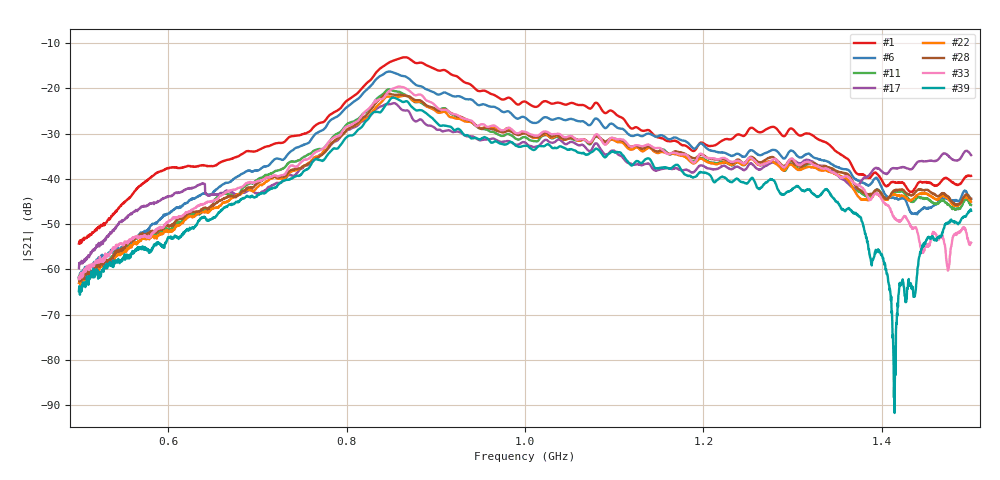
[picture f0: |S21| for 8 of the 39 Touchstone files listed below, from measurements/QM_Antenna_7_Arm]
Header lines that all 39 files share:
!Agilent Technologies,E8364B,US42250235,A.06.04.32
!Agilent E8364B: A.06.04.32
!Correction: S11(Full 2 Port(1,2)) S21(Full 2 Port(1,2)) S12(Full 2 Port(1,2)) S22(Full 2 Port(1,2))
!S2P File: Measurements: S11, S21, S12, S22:
# Hz S  dB  R 50
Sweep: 500 MHz to 1.5 GHz
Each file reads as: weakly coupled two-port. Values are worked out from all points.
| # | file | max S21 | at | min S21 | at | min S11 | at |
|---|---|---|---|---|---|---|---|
| 1 | 0_1.s2p | -13.13 dB | 865.4 MHz | -54.3 dB | 500 MHz | -31.7 dB | 1.068 GHz |
| 2 | 0_2.s2p | -13.17 dB | 850.3 MHz | -56.3 dB | 500 MHz | -32.0 dB | 1.183 GHz |
| 3 | 0_3.s2p | -14.91 dB | 849.9 MHz | -56.5 dB | 500.4 MHz | -27.4 dB | 727.3 MHz |
| 4 | 0_4.s2p | -15.32 dB | 845 MHz | -60.5 dB | 500 MHz | -30.1 dB | 1.134 GHz |
| 5 | 0_5.s2p | -15.92 dB | 860.1 MHz | -61.5 dB | 500.8 MHz | -67.9 dB | 1.116 GHz |
| 6 | 0_6.s2p | -16.27 dB | 848.1 MHz | -61.6 dB | 500 MHz | -30.7 dB | 1.003 GHz |
| 7 | 0_7.s2p | -18.30 dB | 859.4 MHz | -64.8 dB | 500.4 MHz | -45.1 dB | 876.7 MHz |
| 8 | 0_8.s2p | -18.37 dB | 858.2 MHz | -65.2 dB | 500.4 MHz | -37.2 dB | 886.2 MHz |
| 9 | 0_9.s2p | -19.71 dB | 866.6 MHz | -64.0 dB | 502.3 MHz | -58.8 dB | 908.1 MHz |
| 10 | 0_10.s2p | -19.94 dB | 847.3 MHz | -62.6 dB | 505.3 MHz | -36.9 dB | 1.099 GHz |
| 11 | 0_11.s2p | -20.23 dB | 847.3 MHz | -63.1 dB | 503.4 MHz | -38.6 dB | 886.2 MHz |
| 12 | 1_2.s2p | -25.03 dB | 849.2 MHz | -60.5 dB | 500 MHz | -43.9 dB | 905.8 MHz |
| 13 | 1_3.s2p | -22.25 dB | 853.3 MHz | -62.4 dB | 500.4 MHz | -42.4 dB | 940.9 MHz |
| 14 | 1_4.s2p | -20.96 dB | 851.1 MHz | -61.8 dB | 501.5 MHz | -37.2 dB | 879 MHz |
| 15 | 1_5.s2p | -20.63 dB | 854.1 MHz | -64.6 dB | 500 MHz | -46.7 dB | 912.6 MHz |
| 16 | 1_6.s2p | -22.76 dB | 867.7 MHz | -65.4 dB | 500.4 MHz | -41.7 dB | 939.8 MHz |
| 17 | 2_1.s2p | -23.26 dB | 853 MHz | -59.8 dB | 500 MHz | -40.2 dB | 906.9 MHz |
| 18 | 2_2.s2p | -16.59 dB | 862 MHz | -54.7 dB | 500 MHz | -27.8 dB | 1.135 GHz |
| 19 | 2_3.s2p | -17.29 dB | 865.4 MHz | -59.9 dB | 501.5 MHz | -29.5 dB | 1.001 GHz |
| 20 | 2_4.s2p | -19.19 dB | 853.7 MHz | -61.1 dB | 500.4 MHz | -37.7 dB | 954.1 MHz |
| 21 | 2_5.s2p | -20.38 dB | 866.6 MHz | -62.8 dB | 502.3 MHz | -33.3 dB | 874.9 MHz |
| 22 | 2_6.s2p | -21.61 dB | 865 MHz | -63.5 dB | 501.5 MHz | -49.4 dB | 934.9 MHz |
| 23 | 3_1.s2p | -13.63 dB | 853 MHz | -53.5 dB | 501.5 MHz | -32.7 dB | 695.2 MHz |
| 24 | 3_2.s2p | -14.98 dB | 855.2 MHz | -54.6 dB | 500.8 MHz | -32.5 dB | 1.135 GHz |
| 25 | 3_3.s2p | -16.09 dB | 865.4 MHz | -58.6 dB | 500.4 MHz | -30.5 dB | 1.035 GHz |
| 26 | 3_4.s2p | -18.28 dB | 864.3 MHz | -61.3 dB | 500.4 MHz | -41.5 dB | 1.133 GHz |
| 27 | 3_5.s2p | -18.90 dB | 858.2 MHz | -62.1 dB | 500 MHz | -50.0 dB | 1.138 GHz |
| 28 | 3_6.s2p | -21.11 dB | 846.2 MHz | -62.7 dB | 500.4 MHz | -35.1 dB | 885.8 MHz |
| 29 | 4_1.s2p | -15.66 dB | 851.5 MHz | -54.1 dB | 500.8 MHz | -31.1 dB | 857.5 MHz |
| 30 | 4_2.s2p | -18.35 dB | 857.5 MHz | -57.7 dB | 1.384 GHz | -52.8 dB | 1.152 GHz |
| 31 | 4_3.s2p | -17.51 dB | 858.2 MHz | -60.0 dB | 1.41 GHz | -35.1 dB | 1.15 GHz |
| 32 | 4_4.s2p | -19.15 dB | 855.6 MHz | -74.2 dB | 1.42 GHz | -49.1 dB | 1.163 GHz |
| 33 | 4_5.s2p | -19.59 dB | 858.6 MHz | -62.2 dB | 500 MHz | -41.0 dB | 1.101 GHz |
| 34 | 4_6.s2p | -21.90 dB | 865.4 MHz | -62.7 dB | 504.9 MHz | -35.2 dB | 1.1 GHz |
| 35 | 5_1.s2p | -27.98 dB | 846.5 MHz | -63.8 dB | 1.379 GHz | -52.9 dB | 1.104 GHz |
| 36 | 5_2.s2p | -22.85 dB | 853 MHz | -69.4 dB | 1.382 GHz | -48.3 dB | 936.8 MHz |
| 37 | 5_3.s2p | -21.35 dB | 850.3 MHz | -86.4 dB | 1.388 GHz | -62.3 dB | 908.5 MHz |
| 38 | 5_4.s2p | -21.59 dB | 851.8 MHz | -67.1 dB | 1.409 GHz | -45.8 dB | 940.5 MHz |
| 39 | 5_5.s2p | -22.04 dB | 851.8 MHz | -91.7 dB | 1.414 GHz | -56.0 dB | 1.182 GHz |
